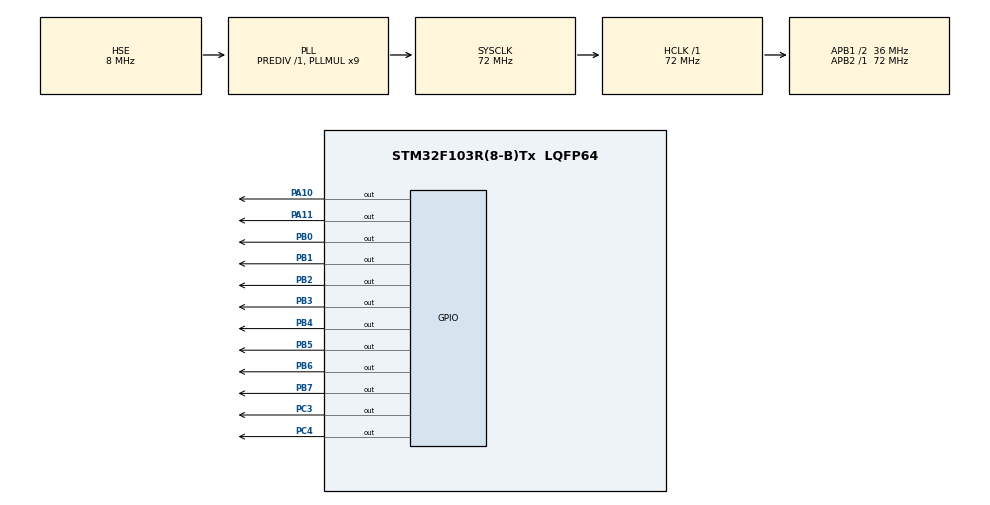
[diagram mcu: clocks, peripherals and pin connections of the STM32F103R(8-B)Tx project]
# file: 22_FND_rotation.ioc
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Mcu.Family=STM32F1
Mcu.Name=STM32F103R(8-B)Tx
Mcu.Package=LQFP64
NVIC.PriorityGroup=NVIC_PRIORITYGROUP_4
PA10.Signal=GPIO_Output
PA11.Signal=GPIO_Output
PA13.Mode=Serial_Wire
PA13.Signal=SYS_JTMS-SWDIO
PA14.Mode=Serial_Wire
PA14.Signal=SYS_JTCK-SWCLK
PB0.Signal=GPIO_Output
PB1.Signal=GPIO_Output
PB2.Signal=GPIO_Output
PB3.Signal=GPIO_Output
PB4.Signal=GPIO_Output
PB5.Signal=GPIO_Output
PB6.Signal=GPIO_Output
PB7.Signal=GPIO_Output
PC14-OSC32_IN.Mode=LSE-External-Oscillator
PC14-OSC32_IN.Signal=RCC_OSC32_IN
PC15-OSC32_OUT.Mode=LSE-External-Oscillator
PC15-OSC32_OUT.Signal=RCC_OSC32_OUT
PC3.Signal=GPIO_Output
PC4.Signal=GPIO_Output
PD0-OSC_IN.Mode=HSE-External-Clock-Source
PD0-OSC_IN.Signal=RCC_OSC_IN
PD1-OSC_OUT.Mode=HSE-External-Clock-Source
PD1-OSC_OUT.Signal=RCC_OSC_OUT
ProjectManager.HeapSize=0x200
ProjectManager.StackSize=0x400
ProjectManager.TargetToolchain=STM32CubeIDE
RCC.AHBFreq_Value=72000000
RCC.APB1CLKDivider=RCC_HCLK_DIV2
RCC.APB1Freq_Value=36000000
RCC.APB1TimFreq_Value=72000000
RCC.APB2Freq_Value=72000000
RCC.APB2TimFreq_Value=72000000
RCC.HCLKFreq_Value=72000000
RCC.PLLMUL=RCC_PLL_MUL9
RCC.PLLSourceVirtual=RCC_PLLSOURCE_HSE
RCC.SYSCLKFreq_VALUE=72000000
RCC.SYSCLKSource=RCC_SYSCLKSOURCE_PLLCLK
RCC.USBFreq_Value=72000000
board=custom

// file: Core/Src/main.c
/* USER CODE BEGIN Header */
/**
  ******************************************************************************
  * @file           : main.c
  * @brief          : Main program body
  ******************************************************************************
  * @attention
  *
  * Copyright (c) 2023 STMicroelectronics.
  * All rights reserved.
  *
  * This software is licensed under terms that can be found in the LICENSE file
  * in the root directory of this software component.
  * If no LICENSE file comes with this software, it is provided AS-IS.
  *
  ******************************************************************************
  */
/* USER CODE END Header */
#include "main.h"

/* USER CODE BEGIN PV */
uint8_t number[] = {0x3f, 0x06, 0x5b, 0x4f, 0x66, 0x6d, 0x7d, 0x07, 0x7f, 0x67};
uint8_t help[] = {0x76, 0x79, 0x38, 0x73};
/* USER CODE END PV */

void SystemClock_Config(void);
static void MX_GPIO_Init(void);

/* USER CODE BEGIN 0 */
typedef struct fnd{
	GPIO_TypeDef *port;
	uint16_t pin;
} FND;

FND value[8] ={
		{GPIOB, GPIO_PIN_0}, {GPIOB, GPIO_PIN_1},
		{GPIOB, GPIO_PIN_2}, {GPIOB, GPIO_PIN_3},
		{GPIOB, GPIO_PIN_4}, {GPIOB, GPIO_PIN_5},
		{GPIOB, GPIO_PIN_6}, {GPIOB, GPIO_PIN_7}
};

FND sel[4] ={
		{GPIOA, GPIO_PIN_10}, {GPIOA, GPIO_PIN_11},
		{GPIOC, GPIO_PIN_4}, {GPIOC, GPIO_PIN_3}
};

void display_fnd(uint8_t data, uint8_t position, uint32_t time) {
   int i;
   for(i = 0; i < 4; i++) {
      if(i == position) {
         HAL_GPIO_WritePin(sel[i].port, sel[i].pin, GPIO_PIN_SET);
      } else {
         HAL_GPIO_WritePin(sel[i].port, sel[i].pin, GPIO_PIN_RESET);
      }
   }
   for(i = 0; i < 8; i++) {
      if((data & (1 << i)) != 0){
         HAL_GPIO_WritePin(value[i].port, value[i].pin, GPIO_PIN_SET);
      } else {
         HAL_GPIO_WritePin(value[i].port, value[i].pin, GPIO_PIN_RESET);
      }
   }
   HAL_Delay(time);
}
/* USER CODE END 0 */

int main(void)
{

  /* MCU Configuration--------------------------------------------------------*/

  /* Reset of all peripherals, Initializes the Flash interface and the Systick. */
  HAL_Init();

  /* Configure the system clock */
  SystemClock_Config();

  /* Initialize all configured peripherals */
  MX_GPIO_Init();

  /* Infinite loop */
  /* USER CODE BEGIN WHILE */
  while (1)
  {
#if 1
	  // 오른쪽
	  for(int i = 4; i > 0; i--){
		  for(int j = 0; j < 50; j++){
			  display_fnd(help[0], (3+i)%4, 5);
			  display_fnd(help[1], (2+i)%4, 5);
			  display_fnd(help[2], (1+i)%4, 5);
			  display_fnd(help[3], (0+i)%4, 5);
		  }
	  }
#endif

#if 0
	  // 왼쪽
	  for(int i = 0; i < 4; i++){
		  for(int j = 0; j < 50; j++){
			  display_fnd(help[0], (3+i)%4, 5);
			  display_fnd(help[1], (2+i)%4, 5);
			  display_fnd(help[2], (1+i)%4, 5);
			  display_fnd(help[3], (0+i)%4, 5);
		  }
	  }
#endif
    /* USER CODE END WHILE */

  }
}

void SystemClock_Config(void)
{
  RCC_OscInitTypeDef RCC_OscInitStruct = {0};
  RCC_ClkInitTypeDef RCC_ClkInitStruct = {0};

  /** Initializes the RCC Oscillators according to the specified parameters
  * in the RCC_OscInitTypeDef structure.
  */
  RCC_OscInitStruct.OscillatorType = RCC_OSCILLATORTYPE_HSE;
  RCC_OscInitStruct.HSEState = RCC_HSE_BYPASS;
  RCC_OscInitStruct.HSEPredivValue = RCC_HSE_PREDIV_DIV1;
  RCC_OscInitStruct.HSIState = RCC_HSI_ON;
  RCC_OscInitStruct.PLL.PLLState = RCC_PLL_ON;
  RCC_OscInitStruct.PLL.PLLSource = RCC_PLLSOURCE_HSE;
  RCC_OscInitStruct.PLL.PLLMUL = RCC_PLL_MUL9;
  if (HAL_RCC_OscConfig(&RCC_OscInitStruct) != HAL_OK)
  {
    Error_Handler();
  }

  /** Initializes the CPU, AHB and APB buses clocks
  */
  RCC_ClkInitStruct.ClockType = RCC_CLOCKTYPE_HCLK|RCC_CLOCKTYPE_SYSCLK
                              |RCC_CLOCKTYPE_PCLK1|RCC_CLOCKTYPE_PCLK2;
  RCC_ClkInitStruct.SYSCLKSource = RCC_SYSCLKSOURCE_PLLCLK;
  RCC_ClkInitStruct.AHBCLKDivider = RCC_SYSCLK_DIV1;
  RCC_ClkInitStruct.APB1CLKDivider = RCC_HCLK_DIV2;
  RCC_ClkInitStruct.APB2CLKDivider = RCC_HCLK_DIV1;

  if (HAL_RCC_ClockConfig(&RCC_ClkInitStruct, FLASH_LATENCY_2) != HAL_OK)
  {
    Error_Handler();
  }
}

static void MX_GPIO_Init(void)
{
  GPIO_InitTypeDef GPIO_InitStruct = {0};

  /* GPIO Ports Clock Enable */
  __HAL_RCC_GPIOC_CLK_ENABLE();
  __HAL_RCC_GPIOD_CLK_ENABLE();
  __HAL_RCC_GPIOB_CLK_ENABLE();
  __HAL_RCC_GPIOA_CLK_ENABLE();

  /*Configure GPIO pin Output Level */
  HAL_GPIO_WritePin(GPIOC, GPIO_PIN_3|GPIO_PIN_4, GPIO_PIN_RESET);

  /*Configure GPIO pin Output Level */
  HAL_GPIO_WritePin(GPIOB, GPIO_PIN_0|GPIO_PIN_1|GPIO_PIN_2|GPIO_PIN_3
                          |GPIO_PIN_4|GPIO_PIN_5|GPIO_PIN_6|GPIO_PIN_7, GPIO_PIN_RESET);

  /*Configure GPIO pin Output Level */
  HAL_GPIO_WritePin(GPIOA, GPIO_PIN_10|GPIO_PIN_11, GPIO_PIN_RESET);

  /*Configure GPIO pins : PC3 PC4 */
  GPIO_InitStruct.Pin = GPIO_PIN_3|GPIO_PIN_4;
  GPIO_InitStruct.Mode = GPIO_MODE_OUTPUT_PP;
  GPIO_InitStruct.Pull = GPIO_NOPULL;
  GPIO_InitStruct.Speed = GPIO_SPEED_FREQ_LOW;
  HAL_GPIO_Init(GPIOC, &GPIO_InitStruct);

  /*Configure GPIO pins : PB0 PB1 PB2 PB3
                           PB4 PB5 PB6 PB7 */
  GPIO_InitStruct.Pin = GPIO_PIN_0|GPIO_PIN_1|GPIO_PIN_2|GPIO_PIN_3
                          |GPIO_PIN_4|GPIO_PIN_5|GPIO_PIN_6|GPIO_PIN_7;
  GPIO_InitStruct.Mode = GPIO_MODE_OUTPUT_PP;
  GPIO_InitStruct.Pull = GPIO_NOPULL;
  GPIO_InitStruct.Speed = GPIO_SPEED_FREQ_LOW;
  HAL_GPIO_Init(GPIOB, &GPIO_InitStruct);

  /*Configure GPIO pins : PA10 PA11 */
  GPIO_InitStruct.Pin = GPIO_PIN_10|GPIO_PIN_11;
  GPIO_InitStruct.Mode = GPIO_MODE_OUTPUT_PP;
  GPIO_InitStruct.Pull = GPIO_NOPULL;
  GPIO_InitStruct.Speed = GPIO_SPEED_FREQ_LOW;
  HAL_GPIO_Init(GPIOA, &GPIO_InitStruct);

}

void Error_Handler(void)
{
  __disable_irq();
  while (1)
  {
  }
}
